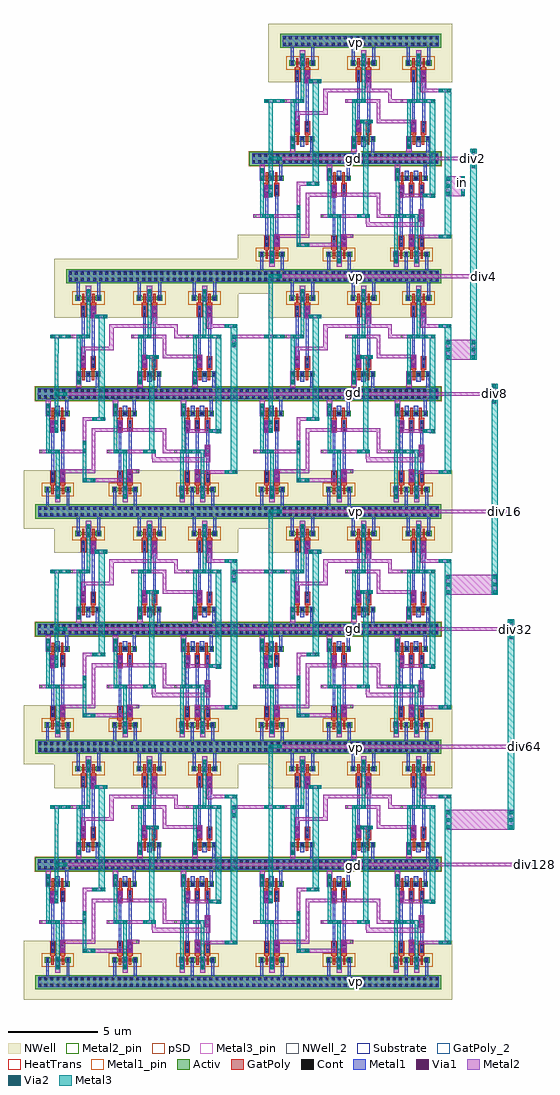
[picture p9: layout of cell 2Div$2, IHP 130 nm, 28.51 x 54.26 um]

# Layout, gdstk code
from math import pi, radians
import gdstk
lib = gdstk.Library(unit=1e-6, precision=1e-09)
def R(c, l, rs):  # rectangles x0, y0, x1, y1
    for r in rs: c.add(gdstk.rectangle(r[:2], r[2:], *l))
def A(c, l, x, y, w, h, nx, ny, dx, dy):  # array of equal rectangles
    R(c, l, [(x+i*dx, y+j*dy, x+i*dx+w, y+j*dy+h) for i in range(nx) for j in range(ny)])
Activ = (1, 0)
GatPoly = (5, 0)
GatPoly_2 = (5, 2)
Cont = (6, 0)
Metal1 = (8, 0)
Metal1_pin = (8, 2)
Metal2 = (10, 0)
Metal2_pin = (10, 2)
pSD = (14, 0)
Via1 = (19, 0)
Via2 = (29, 0)
Metal3 = (30, 0)
Metal3_pin = (30, 2)
NWell = (31, 0)
NWell_2 = (31, 2)
Substrate = (40, 0)
HeatTrans = (51, 0)

ptap1_10 = lib.new_cell('ptap1$10')
R(ptap1_10, Activ, [(0,0,0.78,0.78)])
R(ptap1_10, Cont, [(0.14,0.14,0.3,0.3), (0.48,0.14,0.64,0.3), (0.14,0.48,0.3,0.64), (0.48,0.48,0.64,0.64)])
R(ptap1_10, Metal1, [(0.14,0.09,0.64,0.69), (0.14,0.14,0.64,0.64)])
R(ptap1_10, Metal1_pin, [(0.14,0.14,0.64,0.64)])
R(ptap1_10, pSD, [(-0.03,-0.03,0.81,0.81)])
R(ptap1_10, Substrate, [(0,0,0.78,0.78)])
ptap1_10.add(gdstk.Label('sub!', (0.39,0.01), layer=63, texttype=0))
ptap1_10.add(gdstk.Label('sub!', (0.39,0.01), layer=40, texttype=0))

ntap1_4_1_2 = lib.new_cell('ntap1$4$1$2')
R(ntap1_4_1_2, Activ, [(0,0,2.5,0.78)])
A(ntap1_4_1_2, Cont, 0.15, 0.14, 0.16, 0.16, 7, 2, 0.34, 0.34)
R(ntap1_4_1_2, Metal1, [(0.15,0.09,2.35,0.69)])
R(ntap1_4_1_2, Metal1_pin, [(0.15,0.09,2.35,0.69), (0.15,0.14,2.35,0.64)])
R(ntap1_4_1_2, NWell, [(-0.24,-0.24,2.74,1.02), (0,0,2.5,0.78)])
R(ntap1_4_1_2, NWell_2, [(0,0,2.5,0.78)])
ntap1_4_1_2.add(gdstk.Label('well', (1.25,0.01), layer=63, texttype=0))
ntap1_4_1_2.add(gdstk.Label('well', (1.25,0.01), layer=31, texttype=0))

nmos_3_1_2 = lib.new_cell('nmos$3$1$2')
A(nmos_3_1_2, Activ, 0, 0, 0.3, 0.3, 3, 1, 0.51, 0)
R(nmos_3_1_2, Activ, [(0,0,1.32,0.3)])
R(nmos_3_1_2, GatPoly, [(0.34,-0.18,0.47,0.48), (0.85,-0.18,0.98,0.48)])
R(nmos_3_1_2, GatPoly_2, [(0.34,-0.18,0.47,0.48)])
A(nmos_3_1_2, Cont, 0.07, 0.07, 0.16, 0.16, 3, 1, 0.51, 0)
A(nmos_3_1_2, Metal1, 0.07, 0, 0.16, 0.3, 3, 1, 0.51, 0)
R(nmos_3_1_2, Metal1_pin, [(0.07,0,0.23,0.3), (0.58,0,0.74,0.3)])
R(nmos_3_1_2, HeatTrans, [(0.34,-0.18,0.47,0.48), (0.85,-0.18,0.98,0.48)])
nmos_3_1_2.add(gdstk.Label('nmos', (0.405,0.15), layer=63, texttype=0))
nmos_3_1_2.add(gdstk.Label('nmos', (0.405,0.15), layer=51, texttype=0))
nmos_3_1_2.add(gdstk.Label('nmos', (0.915,0.15), layer=51, texttype=0))

ptap1_2_1_3 = lib.new_cell('ptap1$2$1$3')
R(ptap1_2_1_3, Activ, [(0,0,2.5,0.78)])
A(ptap1_2_1_3, Cont, 0.15, 0.14, 0.16, 0.16, 7, 2, 0.34, 0.34)
R(ptap1_2_1_3, Metal1, [(0.15,0.09,2.35,0.69), (0.15,0.14,2.35,0.64)])
R(ptap1_2_1_3, Metal1_pin, [(0.15,0.14,2.35,0.64)])
R(ptap1_2_1_3, pSD, [(-0.03,-0.03,2.53,0.81)])
R(ptap1_2_1_3, Substrate, [(0,0,2.5,0.78)])
ptap1_2_1_3.add(gdstk.Label('sub!', (1.25,0.01), layer=63, texttype=0))
ptap1_2_1_3.add(gdstk.Label('sub!', (1.25,0.01), layer=40, texttype=0))

via_5_1_3 = lib.new_cell('Via$5$1$3')
R(via_5_1_3, Metal2, [(-0.1,-0.35,0.1,0.35)])
R(via_5_1_3, Via2, [(-0.095,-0.3,0.095,-0.11), (-0.095,0.11,0.095,0.3)])
R(via_5_1_3, Metal3, [(-0.1,-0.35,0.1,0.35)])

via_4_1_2 = lib.new_cell('Via$4$1$2')
R(via_4_1_2, Metal1, [(-0.105,-0.35,0.105,0.35)])
R(via_4_1_2, Metal2, [(-0.1,-0.35,0.1,0.35)])
R(via_4_1_2, Via1, [(-0.095,-0.3,0.095,-0.11), (-0.095,0.11,0.095,0.3)])

via_6_1_1_3 = lib.new_cell('Via$6$1$1$3')
R(via_6_1_1_3, GatPoly, [(-0.32,-0.15,0.32,0.15)])
R(via_6_1_1_3, Cont, [(-0.25,-0.08,-0.09,0.08), (0.09,-0.08,0.25,0.08)])
R(via_6_1_1_3, Metal1, [(-0.3,-0.08,0.3,0.08)])

pmos_3_1_3 = lib.new_cell('pmos$3$1$3')
A(pmos_3_1_3, Activ, 0, 0, 0.3, 0.3, 3, 1, 0.57, 0)
R(pmos_3_1_3, Activ, [(0,0.075,1.44,0.225)])
R(pmos_3_1_3, GatPoly, [(0.37,-0.105,0.5,0.405), (0.94,-0.105,1.07,0.405)])
A(pmos_3_1_3, Cont, 0.07, 0.07, 0.16, 0.16, 3, 1, 0.57, 0)
A(pmos_3_1_3, Metal1, 0.07, 0.02, 0.16, 0.26, 3, 1, 0.57, 0)
R(pmos_3_1_3, pSD, [(-0.18,-0.225,1.62,0.525)])
R(pmos_3_1_3, NWell, [(-0.31,-0.31,1.75,0.61)])
R(pmos_3_1_3, Substrate, [(1.14,0,1.44,0.3)])
R(pmos_3_1_3, HeatTrans, [(0.37,-0.105,0.5,0.405), (0.94,-0.105,1.07,0.405)])
pmos_3_1_3.add(gdstk.Label('pmos', (0.435,0.15), layer=63, texttype=0))
pmos_3_1_3.add(gdstk.Label('pmos', (0.435,0.15), layer=51, texttype=0))
pmos_3_1_3.add(gdstk.Label('pmos', (1.005,0.15), layer=51, texttype=0))

nand_2in_nmosx2_1_1_2 = lib.new_cell('NAND_2in_nmosx2$1$1$2')
R(nand_2in_nmosx2_1_1_2, GatPoly, [(0.605,-3.005,0.905,-2.895), (1.165,-3.005,1.465,-2.895), (0.6,0.58,0.9,0.73), (1.16,0.58,1.46,0.73), (0.68,0.68,0.81,0.77), (1.25,0.68,1.38,0.77)])
R(nand_2in_nmosx2_1_1_2, Metal1, [(0.445,-4.15,0.605,-3.37), (0.915,-3.675,1.155,-3.415), (0.915,-3.435,1.155,-3.095), (0.67,-2.44,0.835,-2.21), (0.67,-2.21,0.83,-1.27), (1.23,-2.21,1.39,-1.27), (0.67,-1.31,0.83,-0.37), (1.23,-1.31,1.39,-0.37), (0.67,-0.37,0.83,-0.12), (1.23,-0.37,1.39,-0.01), (1.52,1,1.68,1.2), (0.38,1.01,0.54,1.15), (0.38,1.115,0.54,1.99), (1.52,1.115,1.68,1.94)])
R(nand_2in_nmosx2_1_1_2, Metal1_pin, [(0.44,-4.395,0.57,-4.265), (0.4,2.15,0.53,2.28)])
R(nand_2in_nmosx2_1_1_2, Metal2, [(1.415,-3.995,1.705,-3.795), (1.415,-3.795,1.705,-3.095), (1.165,-2.875,1.465,-2.175), (1.62,-1.24,2.05,-1.04), (0.6,-0.14,0.9,0.56), (0.88,0.78,1.17,0.98), (0.88,0.98,1.17,1.68)])
R(nand_2in_nmosx2_1_1_2, Metal2_pin, [(1.255,-2.345,1.385,-2.215), (1.905,-1.205,2.035,-1.075), (0.69,-0.1,0.82,0.03)])
R(nand_2in_nmosx2_1_1_2, Metal3, [(1.465,-3.105,1.665,-2.905), (1.465,-2.905,1.665,-1.045), (0.93,-1.09,1.13,0.17), (0.93,0.1,1.13,0.62), (0.93,0.62,1.13,0.72), (0.93,0.71,1.13,0.87)])
R(nand_2in_nmosx2_1_1_2, NWell, [(-0.85,-0.1,2.93,3.17)])
nand_2in_nmosx2_1_1_2.add(gdstk.Reference(ntap1_4_1_2, (-0.23,1.81)))
nand_2in_nmosx2_1_1_2.add(gdstk.Reference(nmos_3_1_2, (1.695,-3.095), rotation=pi))
nand_2in_nmosx2_1_1_2.add(gdstk.Reference(ptap1_2_1_3, (-0.22,-4.73)))
nand_2in_nmosx2_1_1_2.add(gdstk.Reference(via_5_1_3, (1.27,-1.14), rotation=3*pi/2))
nand_2in_nmosx2_1_1_2.add(gdstk.Reference(via_4_1_2, (1.565,-3.445), rotation=pi))
nand_2in_nmosx2_1_1_2.add(gdstk.Reference(via_4_1_2, (1.315,-2.525), rotation=pi))
nand_2in_nmosx2_1_1_2.add(gdstk.Reference(via_4_1_2, (0.75,0.21), rotation=pi))
nand_2in_nmosx2_1_1_2.add(gdstk.Reference(via_4_1_2, (1.03,1.13), rotation=pi))
nand_2in_nmosx2_1_1_2.add(gdstk.Reference(via_6_1_1_3, (0.755,-2.575), rotation=3*pi/2))
nand_2in_nmosx2_1_1_2.add(gdstk.Reference(via_6_1_1_3, (1.315,-2.575), rotation=3*pi/2))
nand_2in_nmosx2_1_1_2.add(gdstk.Reference(via_6_1_1_3, (0.75,0.26), rotation=3*pi/2))
nand_2in_nmosx2_1_1_2.add(gdstk.Reference(via_6_1_1_3, (1.31,0.26), rotation=3*pi/2))
nand_2in_nmosx2_1_1_2.add(gdstk.Reference(via_5_1_3, (1.565,-3.445), rotation=pi))
nand_2in_nmosx2_1_1_2.add(gdstk.Reference(via_5_1_3, (1.03,1.13), rotation=pi))
nand_2in_nmosx2_1_1_2.add(gdstk.Reference(pmos_3_1_3, (1.75,1.13), rotation=pi))
nand_2in_nmosx2_1_1_2.add(gdstk.Label('VP', (0.46,2.21), layer=8, texttype=25))
nand_2in_nmosx2_1_1_2.add(gdstk.Label('GND', (0.505,-4.325), layer=8, texttype=25))
nand_2in_nmosx2_1_1_2.add(gdstk.Label('y', (1.97,-1.14), layer=10, texttype=25))
nand_2in_nmosx2_1_1_2.add(gdstk.Label('b', (0.75,-0.04), layer=10, texttype=25))
nand_2in_nmosx2_1_1_2.add(gdstk.Label('a', (1.315,-2.285), layer=10, texttype=25))

via_10_6_2 = lib.new_cell('Via$10$6$2')
R(via_10_6_2, Metal1, [(-0.105,-0.35,0.105,0.35)])
R(via_10_6_2, Metal2, [(-0.1,-0.35,0.1,0.35)])
R(via_10_6_2, Via1, [(-0.095,-0.3,0.095,-0.11), (-0.095,0.11,0.095,0.3)])

via_11_3_2 = lib.new_cell('Via$11$3$2')
R(via_11_3_2, Metal2, [(-0.1,-0.555,0.1,0.555)])
A(via_11_3_2, Via2, -0.095, -0.505, 0.19, 0.19, 1, 3, 0, 0.41)
R(via_11_3_2, Metal3, [(-0.1,-0.555,0.1,0.555)])

nmos_2_5_4 = lib.new_cell('nmos$2$5$4')
A(nmos_2_5_4, Activ, 0, 0, 0.3, 0.3, 4, 1, 0.51, 0)
R(nmos_2_5_4, Activ, [(0,0,1.83,0.3)])
A(nmos_2_5_4, GatPoly, 0.34, -0.18, 0.13, 0.66, 3, 1, 0.51, 0)
R(nmos_2_5_4, GatPoly_2, [(0.34,-0.18,0.47,0.48)])
A(nmos_2_5_4, Cont, 0.07, 0.07, 0.16, 0.16, 4, 1, 0.51, 0)
A(nmos_2_5_4, Metal1, 0.07, 0, 0.16, 0.3, 4, 1, 0.51, 0)
R(nmos_2_5_4, Metal1_pin, [(0.07,0,0.23,0.3), (0.58,0,0.74,0.3)])
A(nmos_2_5_4, HeatTrans, 0.34, -0.18, 0.13, 0.66, 3, 1, 0.51, 0)
nmos_2_5_4.add(gdstk.Label('nmos', (0.405,0.15), layer=63, texttype=0))
nmos_2_5_4.add(gdstk.Label('nmos', (0.405,0.15), layer=51, texttype=0))
nmos_2_5_4.add(gdstk.Label('nmos', (0.915,0.15), layer=51, texttype=0))
nmos_2_5_4.add(gdstk.Label('nmos', (1.425,0.15), layer=51, texttype=0))

ntap1_7_2 = lib.new_cell('ntap1$7$2')
R(ntap1_7_2, Activ, [(0,0,3.5,0.78)])
A(ntap1_7_2, Cont, 0.14, 0.14, 0.16, 0.16, 10, 2, 0.34, 0.34)
R(ntap1_7_2, Metal1, [(0.14,0.09,3.36,0.69)])
R(ntap1_7_2, Metal1_pin, [(0.14,0.09,3.36,0.69), (0.14,0.14,3.36,0.64)])
R(ntap1_7_2, NWell, [(-0.24,-0.24,3.74,1.02), (0,0,3.5,0.78)])
R(ntap1_7_2, NWell_2, [(0,0,3.5,0.78)])
ntap1_7_2.add(gdstk.Label('well', (1.75,0.01), layer=63, texttype=0))
ntap1_7_2.add(gdstk.Label('well', (1.75,0.01), layer=31, texttype=0))

ptap1_6_2 = lib.new_cell('ptap1$6$2')
R(ptap1_6_2, Activ, [(0,0,3.5,0.78)])
A(ptap1_6_2, Cont, 0.14, 0.14, 0.16, 0.16, 10, 2, 0.34, 0.34)
R(ptap1_6_2, Metal1, [(0.14,0.09,3.36,0.69), (0.14,0.14,3.36,0.64)])
R(ptap1_6_2, Metal1_pin, [(0.14,0.14,3.36,0.64)])
R(ptap1_6_2, pSD, [(-0.03,-0.03,3.53,0.81)])
R(ptap1_6_2, Substrate, [(0,0,3.5,0.78)])
ptap1_6_2.add(gdstk.Label('sub!', (1.75,0.01), layer=63, texttype=0))
ptap1_6_2.add(gdstk.Label('sub!', (1.75,0.01), layer=40, texttype=0))

via_8_4_2 = lib.new_cell('Via$8$4$2')
R(via_8_4_2, Metal2, [(-0.1,-0.35,0.1,0.35)])
R(via_8_4_2, Via2, [(-0.095,-0.3,0.095,-0.11), (-0.095,0.11,0.095,0.3)])
R(via_8_4_2, Metal3, [(-0.1,-0.35,0.1,0.35)])

via_6_10_2 = lib.new_cell('Via$6$10$2')
R(via_6_10_2, GatPoly, [(-0.32,-0.15,0.32,0.15)])
R(via_6_10_2, Cont, [(-0.25,-0.08,-0.09,0.08), (0.09,-0.08,0.25,0.08)])
R(via_6_10_2, Metal1, [(-0.3,-0.08,0.3,0.08)])

pmos_2_5_2 = lib.new_cell('pmos$2$5$2')
A(pmos_2_5_2, Activ, 0, 0, 0.3, 0.3, 4, 1, 0.57, 0)
R(pmos_2_5_2, Activ, [(0,0.075,2.01,0.225)])
A(pmos_2_5_2, GatPoly, 0.37, -0.105, 0.13, 0.51, 3, 1, 0.57, 0)
R(pmos_2_5_2, GatPoly, [(0.37,-0.105,0.5,0.405)])
A(pmos_2_5_2, Cont, 0.07, 0.07, 0.16, 0.16, 4, 1, 0.57, 0)
A(pmos_2_5_2, Metal1, 0.64, 0.02, 0.16, 0.26, 3, 1, 0.57, 0)
R(pmos_2_5_2, Metal1, [(0.07,0.02,0.23,0.28), (0.07,0.02,0.23,0.28), (0.64,0.02,0.8,0.28)])
R(pmos_2_5_2, pSD, [(-0.18,-0.225,2.19,0.525)])
R(pmos_2_5_2, NWell, [(-0.31,-0.31,2.32,0.61)])
R(pmos_2_5_2, Substrate, [(1.71,0,2.01,0.3)])
A(pmos_2_5_2, HeatTrans, 0.37, -0.105, 0.13, 0.51, 3, 1, 0.57, 0)
pmos_2_5_2.add(gdstk.Label('pmos', (0.435,0.15), layer=63, texttype=0))
pmos_2_5_2.add(gdstk.Label('pmos', (0.435,0.15), layer=51, texttype=0))
pmos_2_5_2.add(gdstk.Label('pmos', (1.005,0.15), layer=51, texttype=0))
pmos_2_5_2.add(gdstk.Label('pmos', (1.575,0.15), layer=51, texttype=0))

nand_3in_nmosx3_1_2 = lib.new_cell('NAND_3in_nmosx3$1$2')
R(nand_3in_nmosx3_1_2, GatPoly, [(0.115,-3.025,0.245,-2.915), (0.685,-3.025,0.815,-2.915), (0.035,-3.005,0.335,-2.895), (0.605,-3.005,0.905,-2.895), (1.165,-3.005,1.465,-2.895), (0.03,0.58,0.33,0.73), (0.6,0.58,0.9,0.73), (1.16,0.58,1.46,0.73), (0.68,0.68,0.81,0.77), (1.25,0.68,1.38,0.77)])
R(nand_3in_nmosx3_1_2, Metal1, [(-0.095,-4.15,0.065,-3.37), (0.375,-3.675,0.615,-3.415), (0.885,-3.675,1.125,-3.415), (0.375,-3.435,0.615,-3.095), (0.885,-3.435,1.125,-3.095), (0.67,-2.44,0.835,-2.09), (0.1,-2.42,0.265,-1.91), (0.67,-2.21,0.83,-1.27), (1.23,-2.21,1.39,-1.27), (0.1,-1.91,0.26,-0.56), (0.67,-1.31,0.83,-0.37), (1.23,-1.31,1.39,-0.37), (0.1,-0.62,0.26,-0.04), (1.23,-0.53,1.39,0), (0.67,-0.37,0.83,-0.11), (0.95,1,1.11,1.2), (-0.19,1.01,-0.03,1.15), (-0.19,1.115,-0.03,1.99), (0.95,1.115,1.11,1.94)])
R(nand_3in_nmosx3_1_2, Metal1_pin, [(0.44,-4.405,0.57,-4.275), (0.74,2.15,0.87,2.28)])
R(nand_3in_nmosx3_1_2, Metal2, [(1.375,-3.995,1.665,-3.795), (1.375,-3.795,1.665,-3.095), (1.155,-2.875,1.455,-2.175), (0.03,-1.51,0.33,-0.81), (1.62,-1.24,2.05,-1.04), (0.59,-0.14,0.89,0.56), (0.31,0.78,0.6,0.98), (1.45,0.78,1.74,0.98), (0.31,0.98,0.6,1.68), (1.45,0.98,1.74,1.68)])
R(nand_3in_nmosx3_1_2, Metal2_pin, [(1.255,-2.385,1.385,-2.255), (0.11,-1.215,0.24,-1.085), (1.905,-1.205,2.035,-1.075), (0.69,-0.07,0.82,0.06)])
R(nand_3in_nmosx3_1_2, Metal3, [(1.425,-3.105,1.625,-2.905), (1.425,-2.905,1.625,-2.5), (1.425,-2.5,1.625,-1.15), (0.36,-1.24,0.56,-0.97), (0.38,-1.24,0.565,-1.04), (1.66,-1.24,1.7,-1.09), (1.5,-1.09,1.7,0.17), (0.36,-0.97,0.56,0.26), (1.5,-0.03,1.7,0.62), (0.36,0.08,0.56,0.78), (1.5,0.62,1.7,0.72), (1.5,0.71,1.7,0.87)])
R(nand_3in_nmosx3_1_2, NWell, [(-1.52,-0.1,-0.85,3.17), (-0.85,-0.1,2.93,3.17)])
nand_3in_nmosx3_1_2.add(gdstk.Reference(via_10_6_2, (1.525,-3.445), rotation=pi))
nand_3in_nmosx3_1_2.add(gdstk.Reference(via_10_6_2, (1.315,-2.525), rotation=pi))
nand_3in_nmosx3_1_2.add(gdstk.Reference(via_10_6_2, (0.18,-1.16), rotation=pi))
nand_3in_nmosx3_1_2.add(gdstk.Reference(via_10_6_2, (0.75,0.21), rotation=pi))
nand_3in_nmosx3_1_2.add(gdstk.Reference(via_10_6_2, (0.46,1.13), rotation=pi))
nand_3in_nmosx3_1_2.add(gdstk.Reference(via_10_6_2, (1.6,1.13), rotation=pi))
nand_3in_nmosx3_1_2.add(gdstk.Reference(via_11_3_2, (1.12,-1.14), rotation=3*pi/2))
nand_3in_nmosx3_1_2.add(gdstk.Reference(nmos_2_5_4, (1.665,-3.095), rotation=pi))
nand_3in_nmosx3_1_2.add(gdstk.Reference(ntap1_7_2, (-0.9,1.81)))
nand_3in_nmosx3_1_2.add(gdstk.Reference(ptap1_6_2, (-0.89,-4.73)))
nand_3in_nmosx3_1_2.add(gdstk.Reference(via_8_4_2, (1.525,-3.445), rotation=pi))
nand_3in_nmosx3_1_2.add(gdstk.Reference(via_8_4_2, (0.46,1.13), rotation=pi))
nand_3in_nmosx3_1_2.add(gdstk.Reference(via_8_4_2, (1.6,1.13), rotation=pi))
nand_3in_nmosx3_1_2.add(gdstk.Reference(via_6_10_2, (0.185,-2.575), rotation=3*pi/2))
nand_3in_nmosx3_1_2.add(gdstk.Reference(via_6_10_2, (0.755,-2.575), rotation=3*pi/2))
nand_3in_nmosx3_1_2.add(gdstk.Reference(via_6_10_2, (1.315,-2.575), rotation=3*pi/2))
nand_3in_nmosx3_1_2.add(gdstk.Reference(via_6_10_2, (0.18,0.26), rotation=3*pi/2))
nand_3in_nmosx3_1_2.add(gdstk.Reference(via_6_10_2, (0.75,0.26), rotation=3*pi/2))
nand_3in_nmosx3_1_2.add(gdstk.Reference(via_6_10_2, (1.31,0.26), rotation=3*pi/2))
nand_3in_nmosx3_1_2.add(gdstk.Reference(pmos_2_5_2, (1.75,1.13), rotation=pi))
nand_3in_nmosx3_1_2.add(gdstk.Label('VP', (0.8,2.21), layer=8, texttype=25))
nand_3in_nmosx3_1_2.add(gdstk.Label('GND', (0.505,-4.335), layer=8, texttype=25))
nand_3in_nmosx3_1_2.add(gdstk.Label('y', (1.97,-1.14), layer=10, texttype=25))
nand_3in_nmosx3_1_2.add(gdstk.Label('b', (0.76,0.02), layer=10, texttype=25))
nand_3in_nmosx3_1_2.add(gdstk.Label('c', (0.17,-1.15), layer=10, texttype=25))
nand_3in_nmosx3_1_2.add(gdstk.Label('a', (1.315,-2.325), layer=10, texttype=25))

ntap1_1_2_2 = lib.new_cell('ntap1$1$2$2')
R(ntap1_1_2_2, Activ, [(0,0,2.5,0.78)])
A(ntap1_1_2_2, Cont, 0.15, 0.14, 0.16, 0.16, 7, 2, 0.34, 0.34)
R(ntap1_1_2_2, Metal1, [(0.15,0.09,2.35,0.69)])
R(ntap1_1_2_2, Metal1_pin, [(0.15,0.09,2.35,0.69), (0.15,0.14,2.35,0.64)])
R(ntap1_1_2_2, NWell, [(-0.24,-0.24,2.74,1.02), (0,0,2.5,0.78)])
R(ntap1_1_2_2, NWell_2, [(0,0,2.5,0.78)])
ntap1_1_2_2.add(gdstk.Label('well', (1.25,0.01), layer=63, texttype=0))
ntap1_1_2_2.add(gdstk.Label('well', (1.25,0.01), layer=31, texttype=0))

nmos_4_4 = lib.new_cell('nmos$4$4')
A(nmos_4_4, Activ, 0, 0, 0.3, 0.3, 3, 1, 0.51, 0)
R(nmos_4_4, Activ, [(0,0,1.32,0.3)])
R(nmos_4_4, GatPoly, [(0.34,-0.18,0.47,0.48), (0.85,-0.18,0.98,0.48)])
R(nmos_4_4, GatPoly_2, [(0.34,-0.18,0.47,0.48)])
A(nmos_4_4, Cont, 0.07, 0.07, 0.16, 0.16, 3, 1, 0.51, 0)
A(nmos_4_4, Metal1, 0.07, 0, 0.16, 0.3, 3, 1, 0.51, 0)
R(nmos_4_4, Metal1_pin, [(0.07,0,0.23,0.3), (0.58,0,0.74,0.3)])
R(nmos_4_4, HeatTrans, [(0.34,-0.18,0.47,0.48), (0.85,-0.18,0.98,0.48)])
nmos_4_4.add(gdstk.Label('nmos', (0.405,0.15), layer=63, texttype=0))
nmos_4_4.add(gdstk.Label('nmos', (0.405,0.15), layer=51, texttype=0))
nmos_4_4.add(gdstk.Label('nmos', (0.915,0.15), layer=51, texttype=0))

ptap1_1_2_2 = lib.new_cell('ptap1$1$2$2')
R(ptap1_1_2_2, Activ, [(0,0,2.5,0.78)])
A(ptap1_1_2_2, Cont, 0.15, 0.14, 0.16, 0.16, 7, 2, 0.34, 0.34)
R(ptap1_1_2_2, Metal1, [(0.15,0.09,2.35,0.69), (0.15,0.14,2.35,0.64)])
R(ptap1_1_2_2, Metal1_pin, [(0.15,0.14,2.35,0.64)])
R(ptap1_1_2_2, pSD, [(-0.03,-0.03,2.53,0.81)])
R(ptap1_1_2_2, Substrate, [(0,0,2.5,0.78)])
ptap1_1_2_2.add(gdstk.Label('sub!', (1.25,0.01), layer=63, texttype=0))
ptap1_1_2_2.add(gdstk.Label('sub!', (1.25,0.01), layer=40, texttype=0))

pmos_4_2 = lib.new_cell('pmos$4$2')
A(pmos_4_2, Activ, 0, 0, 0.3, 0.3, 3, 1, 0.57, 0)
R(pmos_4_2, Activ, [(0,0.075,1.44,0.225)])
R(pmos_4_2, GatPoly, [(0.37,-0.105,0.5,0.405), (0.37,-0.105,0.5,0.405), (0.94,-0.105,1.07,0.405)])
A(pmos_4_2, Cont, 0.07, 0.07, 0.16, 0.16, 3, 1, 0.57, 0)
R(pmos_4_2, Metal1, [(0.07,0.02,0.23,0.28), (0.07,0.02,0.23,0.28), (0.64,0.02,0.8,0.28), (0.64,0.02,0.8,0.28), (1.21,0.02,1.37,0.28)])
R(pmos_4_2, pSD, [(-0.18,-0.225,1.62,0.525)])
R(pmos_4_2, NWell, [(-0.31,-0.31,1.75,0.61)])
R(pmos_4_2, Substrate, [(1.14,0,1.44,0.3)])
R(pmos_4_2, HeatTrans, [(0.37,-0.105,0.5,0.405), (0.94,-0.105,1.07,0.405)])
pmos_4_2.add(gdstk.Label('pmos', (0.435,0.15), layer=63, texttype=0))
pmos_4_2.add(gdstk.Label('pmos', (0.435,0.15), layer=51, texttype=0))
pmos_4_2.add(gdstk.Label('pmos', (1.005,0.15), layer=51, texttype=0))

nand_2in_nmosx2_3_2 = lib.new_cell('NAND_2in_nmosx2$3$2')
R(nand_2in_nmosx2_3_2, GatPoly, [(0.605,-3.005,0.905,-2.895), (1.165,-3.005,1.465,-2.895), (0.6,0.58,0.9,0.73), (1.16,0.58,1.46,0.73), (0.68,0.68,0.81,0.77), (1.25,0.68,1.38,0.77)])
R(nand_2in_nmosx2_3_2, Metal1, [(0.445,-4.15,0.605,-3.37), (0.915,-3.675,1.155,-3.415), (0.915,-3.435,1.155,-3.095), (0.67,-2.44,0.835,-2.21), (0.67,-2.21,0.83,-1.27), (1.23,-2.21,1.39,-1.27), (0.67,-1.31,0.83,-0.37), (1.23,-1.31,1.39,-0.37), (0.67,-0.37,0.83,-0.12), (1.23,-0.37,1.39,-0.01), (1.52,1,1.68,1.2), (0.38,1.01,0.54,1.15), (0.38,1.115,0.54,1.99), (1.52,1.115,1.68,1.94)])
R(nand_2in_nmosx2_3_2, Metal1_pin, [(0.44,-4.395,0.57,-4.265), (0.4,2.15,0.53,2.28)])
R(nand_2in_nmosx2_3_2, Metal2, [(1.415,-3.995,1.705,-3.795), (1.415,-3.795,1.705,-3.095), (1.165,-2.875,1.465,-2.175), (1.62,-1.24,2.05,-1.04), (0.6,-0.14,0.9,0.56), (0.88,0.78,1.17,0.98), (0.88,0.98,1.17,1.68)])
R(nand_2in_nmosx2_3_2, Metal2_pin, [(1.255,-2.345,1.385,-2.215), (1.905,-1.205,2.035,-1.075), (0.69,-0.1,0.82,0.03)])
R(nand_2in_nmosx2_3_2, Metal3, [(1.465,-3.105,1.665,-2.905), (1.465,-2.905,1.665,-1.045), (0.93,-1.09,1.13,0.17), (0.93,0.1,1.13,0.62), (0.93,0.62,1.13,0.72), (0.93,0.71,1.13,0.87)])
R(nand_2in_nmosx2_3_2, NWell, [(-0.85,-0.1,2.93,3.17)])
nand_2in_nmosx2_3_2.add(gdstk.Reference(ntap1_1_2_2, (-0.23,1.81)))
nand_2in_nmosx2_3_2.add(gdstk.Reference(nmos_4_4, (1.695,-3.095), rotation=pi))
nand_2in_nmosx2_3_2.add(gdstk.Reference(ptap1_1_2_2, (-0.22,-4.73)))
nand_2in_nmosx2_3_2.add(gdstk.Reference(via_8_4_2, (1.27,-1.14), rotation=3*pi/2))
nand_2in_nmosx2_3_2.add(gdstk.Reference(via_10_6_2, (1.565,-3.445), rotation=pi))
nand_2in_nmosx2_3_2.add(gdstk.Reference(via_10_6_2, (1.315,-2.525), rotation=pi))
nand_2in_nmosx2_3_2.add(gdstk.Reference(via_10_6_2, (0.75,0.21), rotation=pi))
nand_2in_nmosx2_3_2.add(gdstk.Reference(via_10_6_2, (1.03,1.13), rotation=pi))
nand_2in_nmosx2_3_2.add(gdstk.Reference(via_6_10_2, (0.755,-2.575), rotation=3*pi/2))
nand_2in_nmosx2_3_2.add(gdstk.Reference(via_6_10_2, (1.315,-2.575), rotation=3*pi/2))
nand_2in_nmosx2_3_2.add(gdstk.Reference(via_6_10_2, (0.75,0.26), rotation=3*pi/2))
nand_2in_nmosx2_3_2.add(gdstk.Reference(via_6_10_2, (1.31,0.26), rotation=3*pi/2))
nand_2in_nmosx2_3_2.add(gdstk.Reference(via_8_4_2, (1.565,-3.445), rotation=pi))
nand_2in_nmosx2_3_2.add(gdstk.Reference(via_8_4_2, (1.03,1.13), rotation=pi))
nand_2in_nmosx2_3_2.add(gdstk.Reference(pmos_4_2, (1.75,1.13), rotation=pi))
nand_2in_nmosx2_3_2.add(gdstk.Label('VP', (0.46,2.21), layer=8, texttype=25))
nand_2in_nmosx2_3_2.add(gdstk.Label('GND', (0.505,-4.325), layer=8, texttype=25))
nand_2in_nmosx2_3_2.add(gdstk.Label('y', (1.97,-1.14), layer=10, texttype=25))
nand_2in_nmosx2_3_2.add(gdstk.Label('b', (0.75,-0.04), layer=10, texttype=25))
nand_2in_nmosx2_3_2.add(gdstk.Label('a', (1.315,-2.285), layer=10, texttype=25))

ntap1_3_3_2 = lib.new_cell('ntap1$3$3$2')
R(ntap1_3_3_2, Activ, [(0,0,1.8,0.78)])
A(ntap1_3_3_2, Cont, 0.14, 0.14, 0.16, 0.16, 5, 2, 0.34, 0.34)
R(ntap1_3_3_2, Metal1, [(0.14,0.09,1.66,0.69)])
R(ntap1_3_3_2, Metal1_pin, [(0.14,0.09,1.66,0.69), (0.14,0.14,1.66,0.64)])
R(ntap1_3_3_2, NWell, [(-0.24,-0.24,2.04,1.02), (0,0,1.8,0.78)])
R(ntap1_3_3_2, NWell_2, [(0,0,1.8,0.78)])
ntap1_3_3_2.add(gdstk.Label('well', (0.9,0.01), layer=63, texttype=0))
ntap1_3_3_2.add(gdstk.Label('well', (0.9,0.01), layer=31, texttype=0))

via_14_2 = lib.new_cell('Via$14$2')
R(via_14_2, Metal2, [(-0.35,-0.1,0.35,0.1)])
R(via_14_2, Via2, [(-0.3,-0.095,-0.11,0.095), (0.11,-0.095,0.3,0.095)])
R(via_14_2, Metal3, [(-0.35,-0.1,0.35,0.1)])

via_12_4_2 = lib.new_cell('Via$12$4$2')
R(via_12_4_2, Metal2, [(-0.555,-0.1,0.555,0.1)])
A(via_12_4_2, Via2, -0.505, -0.095, 0.19, 0.19, 3, 1, 0.41, 0)
R(via_12_4_2, Metal3, [(-0.555,-0.1,0.555,0.1)])

via_13_1_2 = lib.new_cell('Via$13$1$2')
R(via_13_1_2, Metal2, [(-0.76,-0.1,0.76,0.1)])
A(via_13_1_2, Via2, -0.71, -0.095, 0.19, 0.19, 4, 1, 0.41, 0)
R(via_13_1_2, Metal3, [(-0.76,-0.1,0.76,0.1)])

ntap1_5_1_2 = lib.new_cell('ntap1$5$1$2')
R(ntap1_5_1_2, Activ, [(0,0,2.1,0.78)])
A(ntap1_5_1_2, Cont, 0.12, 0.14, 0.16, 0.16, 6, 2, 0.34, 0.34)
R(ntap1_5_1_2, Metal1, [(0.12,0.09,1.98,0.69)])
R(ntap1_5_1_2, Metal1_pin, [(0.12,0.09,1.98,0.69), (0.12,0.14,1.98,0.64)])
R(ntap1_5_1_2, NWell, [(-0.24,-0.24,2.34,1.02), (0,0,2.1,0.78)])
R(ntap1_5_1_2, NWell_2, [(0,0,2.1,0.78)])
ntap1_5_1_2.add(gdstk.Label('well', (1.05,0.01), layer=63, texttype=0))
ntap1_5_1_2.add(gdstk.Label('well', (1.05,0.01), layer=31, texttype=0))

d_flip_flop_3_2 = lib.new_cell('d_flip_flop$3$2')
R(d_flip_flop_3_2, Metal1_pin, [(5.305,-5.04,5.435,-4.91), (4.995,1.37,5.125,1.5), (4.785,7.96,4.915,8.09)])
R(d_flip_flop_3_2, Metal2, [(-0.15,-2.95,1.29,-2.75), (1.29,-2.95,1.96,-2.75), (5.3,-2.91,5.88,-2.71), (7.74,-2.91,9.52,-2.71), (7.74,-2.81,7.94,-2.31), (1.34,-2.31,1.6,-2.04), (1.36,-2.31,4.58,-2.04), (7.74,-2.31,7.94,-1.39), (4.38,-2.13,4.585,-1.73), (3.36,-1.81,3.94,-1.61), (3.79,-1.81,3.99,-1.39), (4.38,-1.81,4.67,-1.61), (4.67,-1.81,6.02,-1.61), (8.24,-1.81,8.44,-0.89), (8.27,-1.81,9.71,-1.61), (3.79,-1.39,3.99,-0.43), (7.74,-1.39,7.94,-0.49), (8.24,-0.89,8.44,0.19), (1.38,-0.67,2.58,-0.47), (3.79,-0.62,4.07,-0.42), (4.07,-0.62,4.65,-0.42), (4.65,-0.62,6.26,-0.42), (6.16,-0.62,7.94,-0.42), (7.69,-0.01,8.27,0.19), (1.79,3.46,3.17,3.66), (3.17,3.46,3.99,3.66), (3.79,3.53,3.99,4.17), (8.255,3.655,8.505,4.12), (6.71,3.92,6.96,5.17), (6.71,3.92,7.72,4.12), (7.72,3.92,8.47,4.12), (3.79,4.17,3.99,4.59), (2.465,4.59,3.35,4.79), (3.79,4.59,4.61,4.79), (9.14,4.59,10.17,4.79), (3.15,4.79,3.35,5.21), (0.13,5.17,0.61,5.37), (0.61,5.17,1.48,5.37), (1.23,5.17,1.53,5.19), (3.15,5.17,3.67,5.37), (3.67,5.17,4.54,5.37), (4.22,5.17,6.21,5.37), (6.21,5.17,6.96,5.37), (1.23,5.19,1.53,5.69), (4.29,5.29,4.59,5.69)])
R(d_flip_flop_3_2, Metal2_pin, [(5.325,-2.88,5.455,-2.75), (10.695,-1.775,10.825,-1.645), (10.075,4.625,10.205,4.755)])
R(d_flip_flop_3_2, Metal3, [(-0.15,-2.85,0.2,-2.45), (-0.15,-2.45,0.2,4.28), (4.45,-1.81,4.73,2.56), (0.73,-0.7,1.05,3.6), (9.78,-0.47,9.98,3.76), (7.205,0.09,7.54,4.77), (4.45,2.56,4.73,3.49), (0.73,3.6,1.05,4.69), (9.775,3.76,9.98,4.69), (-0.15,4.28,0.2,5.23), (7.205,4.77,7.54,5.76)])
R(d_flip_flop_3_2, Metal3_pin, [(-0.045,1.42,0.085,1.55)])
d_flip_flop_3_2.add(gdstk.Reference(nand_2in_nmosx2_1_1_2, (5.05,-2.85), x_reflection=True))
d_flip_flop_3_2.add(gdstk.Reference(nand_3in_nmosx3_1_2, (1.31,-2.85), x_reflection=True))
d_flip_flop_3_2.add(gdstk.Reference(nand_2in_nmosx2_3_2, (7.09,5.83)))
d_flip_flop_3_2.add(gdstk.Reference(nand_2in_nmosx2_3_2, (0.63,5.83)))
d_flip_flop_3_2.add(gdstk.Reference(nand_2in_nmosx2_3_2, (8.79,-2.85), x_reflection=True))
d_flip_flop_3_2.add(gdstk.Reference(ntap1_3_3_2, (2.45,7.64)))
d_flip_flop_3_2.add(gdstk.Reference(ntap1_3_3_2, (5.51,7.64)))
d_flip_flop_3_2.add(gdstk.Reference(via_14_2, (0.2,-2.85), rotation=pi))
d_flip_flop_3_2.add(gdstk.Reference(via_14_2, (0.2,5.27), rotation=pi))
d_flip_flop_3_2.add(gdstk.Reference(nand_2in_nmosx2_3_2, (3.69,5.83)))
d_flip_flop_3_2.add(gdstk.Reference(via_12_4_2, (9.68,4.69), rotation=pi))
d_flip_flop_3_2.add(gdstk.Reference(via_8_4_2, (9.88,-0.32), rotation=pi))
d_flip_flop_3_2.add(gdstk.Reference(via_14_2, (1.08,-0.57), rotation=pi))
d_flip_flop_3_2.add(gdstk.Reference(via_13_1_2, (1.49,4.69), rotation=pi))
d_flip_flop_3_2.add(gdstk.Reference(via_14_2, (7.54,0.09), rotation=pi))
d_flip_flop_3_2.add(gdstk.Reference(via_14_2, (7.41,5.79), rotation=pi))
d_flip_flop_3_2.add(gdstk.Reference(via_14_2, (4.73,-1.71), rotation=pi))
d_flip_flop_3_2.add(gdstk.Reference(via_14_2, (4.56,3.55), rotation=pi))
d_flip_flop_3_2.add(gdstk.Reference(ntap1_3_3_2, (3.47,-5.44)))
d_flip_flop_3_2.add(gdstk.Reference(ntap1_5_1_2, (6.89,-5.44)))
d_flip_flop_3_2.add(gdstk.Label('VP', (5.37,-4.98), layer=8, texttype=25))
d_flip_flop_3_2.add(gdstk.Label('VP', (4.85,7.56), layer=8, texttype=25))
d_flip_flop_3_2.add(gdstk.Label('GND', (5.06,1.43), layer=8, texttype=25))
d_flip_flop_3_2.add(gdstk.Label('q', (10.14,4.69), layer=10, texttype=25))
d_flip_flop_3_2.add(gdstk.Label('d', (5.39,-2.81), layer=10, texttype=25))
d_flip_flop_3_2.add(gdstk.Label('q_', (10.76,-1.71), layer=10, texttype=25))
d_flip_flop_3_2.add(gdstk.Label('clk', (0.02,1.48), layer=30, texttype=25))

via_39_2 = lib.new_cell('Via$39$2')
R(via_39_2, Metal2, [(-0.1,-0.35,0.1,0.35)])
R(via_39_2, Via2, [(-0.095,-0.3,0.095,-0.11), (-0.095,0.11,0.095,0.3)])
R(via_39_2, Metal3, [(-0.1,-0.35,0.1,0.35)])

via_40_2 = lib.new_cell('Via$40$2')
R(via_40_2, Metal2, [(-0.1,-0.555,0.1,0.555)])
A(via_40_2, Via2, -0.095, -0.505, 0.19, 0.19, 1, 3, 0, 0.41)
R(via_40_2, Metal3, [(-0.1,-0.555,0.1,0.555)])

via_6 = lib.new_cell('Via$6')
R(via_6, Metal2, [(-0.35,-0.1,0.35,0.1)])
R(via_6, Via2, [(-0.3,-0.095,-0.11,0.095), (0.11,-0.095,0.3,0.095)])
R(via_6, Metal3, [(-0.35,-0.1,0.35,0.1)])

ntap1_39 = lib.new_cell('ntap1$39')
R(ntap1_39, Activ, [(0,0,7.8,0.78)])
A(ntap1_39, Cont, 0.08, 0.14, 0.16, 0.16, 23, 2, 0.34, 0.34)
R(ntap1_39, Metal1, [(0.08,0.09,7.72,0.69)])
R(ntap1_39, Metal1_pin, [(0.08,0.09,7.72,0.69), (0.08,0.14,7.72,0.64)])
R(ntap1_39, NWell, [(-0.24,-0.24,8.04,1.02), (0,0,7.8,0.78)])
R(ntap1_39, NWell_2, [(0,0,7.8,0.78)])
ntap1_39.add(gdstk.Label('well', (3.9,0.01), layer=63, texttype=0))
ntap1_39.add(gdstk.Label('well', (3.9,0.01), layer=31, texttype=0))

c_2div_2 = lib.new_cell('2Div$2')
R(c_2div_2, Metal1_pin, [(-72.89,-8.14,-72.79,-8.04), (-73.1,-1.69,-73,-1.59), (-72.89,4.84,-72.79,4.94), (-73.1,11.48,-73,11.58), (-72.89,17.98,-72.79,18.08), (-73.1,24.57,-73,24.67), (-72.89,31.02,-72.79,31.12), (-73.1,37.58,-73,37.68), (-72.89,44.08,-72.79,44.18)])
A(c_2div_2, Metal2, -88.09, -6.49, 2.79, 0.21, 1, 3, 0, 13.08)
A(c_2div_2, Metal2, -76.19, -6.49, 2.79, 0.21, 1, 4, 0, 13.08)
A(c_2div_2, Metal2, -89.55, -1.69, 12.14, 0.2, 1, 3, 0, 13.08)
A(c_2div_2, Metal2, -77.73, -1.69, 1.81, 0.2, 1, 7, 0, 6.54)
A(c_2div_2, Metal2, -75.97, -1.69, 3.51, 0.2, 1, 7, 0, 6.54)
A(c_2div_2, Metal2, -72.46, -1.69, 5.12, 0.2, 1, 7, 0, 6.54)
A(c_2div_2, Metal2, -67.48, -1.69, 1.16, 0.2, 1, 7, 0, 6.54)
A(c_2div_2, Metal2, -79.78, 1.51, 1.795, 0.2, 1, 3, 0, 13.08)
R(c_2div_2, Metal2, [(-66.32,-1.69,-62.86,-1.49), (-67.87,0.335,-64.1,1.445), (-81.18,2.04,-80.88,2.62), (-66.43,4.85,-64.495,5.05), (-64.495,4.85,-63.4,5.05), (-66.45,11.39,-63.9,11.59), (-67.87,13.41,-66.26,14.52), (-66.41,13.41,-65.07,14.52), (-66.43,17.93,-64.495,18.13), (-66.35,24.47,-65.09,24.67), (-67.87,26.47,-66.26,27.58), (-81.18,28.2,-80.88,28.82), (-66.39,31.01,-65.74,31.21), (-67.87,35.56,-66.85,36.67)])
R(c_2div_2, Metal2_pin, [(-63.04,-1.66,-62.9,-1.52), (-63.61,4.87,-63.47,5.01), (-64.09,11.41,-63.95,11.55), (-64.69,17.95,-64.55,18.09), (-65.24,24.5,-65.1,24.64), (-65.89,31.04,-65.75,31.18), (-66.47,37.59,-66.33,37.73)])
A(c_2div_2, Metal3, -88.09, -6.49, 0.2, 1.6, 1, 3, 0, 13.08)
A(c_2div_2, Metal3, -76.19, -6.49, 0.2, 1.6, 1, 4, 0, 13.08)
A(c_2div_2, Metal3, -77.73, 1.1, 0.2, 3.94, 1, 3, 0, 13.08)
A(c_2div_2, Metal3, -77.68, 1.47, 0.155, 3.58, 1, 3, 0, 13.08)
R(c_2div_2, Metal3, [(-64.44,0.335,-64.3,2.23), (-64.3,0.335,-64.1,2.23), (-64.44,2.08,-64.1,12.05), (-64.44,2.23,-64.1,2.6), (-64.44,2.23,-64.1,2.6), (-65.35,13.41,-65.01,25.13), (-66.53,26.47,-66.19,38.21), (-66.53,36.3,-66.19,36.67), (-66.53,36.3,-66.19,36.67), (-66.53,36.53,-66.19,38.21)])
R(c_2div_2, Metal3_pin, [(-67,36.27,-66.89,36.4)])
c_2div_2.add(gdstk.Reference(ptap1_10, (-79.73,-1.98), rotation=pi, x_reflection=True))
c_2div_2.add(gdstk.Reference(ptap1_10, (-79.39,-1.98), rotation=pi, x_reflection=True))
c_2div_2.add(gdstk.Reference(ptap1_10, (-79.05,-1.98), rotation=pi, x_reflection=True))
c_2div_2.add(gdstk.Reference(ptap1_10, (-78.71,-1.98), rotation=pi, x_reflection=True))
c_2div_2.add(gdstk.Reference(ptap1_10, (-78.37,-1.98), rotation=pi, x_reflection=True))
c_2div_2.add(gdstk.Reference(d_flip_flop_3_2, (-67.75,10), rotation=pi, x_reflection=True))
c_2div_2.add(gdstk.Reference(d_flip_flop_3_2, (-79.65,10), rotation=pi, x_reflection=True))
c_2div_2.add(gdstk.Reference(ptap1_10, (-79.73,11.1), rotation=pi, x_reflection=True))
c_2div_2.add(gdstk.Reference(ptap1_10, (-79.73,24.18), rotation=pi, x_reflection=True))
c_2div_2.add(gdstk.Reference(ptap1_10, (-79.39,24.18), rotation=pi, x_reflection=True))
c_2div_2.add(gdstk.Reference(ptap1_10, (-79.05,24.18), rotation=pi, x_reflection=True))
c_2div_2.add(gdstk.Reference(ptap1_10, (-78.71,24.18), rotation=pi, x_reflection=True))
c_2div_2.add(gdstk.Reference(ptap1_10, (-78.37,24.18), rotation=pi, x_reflection=True))
c_2div_2.add(gdstk.Reference(d_flip_flop_3_2, (-67.75,-3.08), rotation=pi, x_reflection=True))
c_2div_2.add(gdstk.Reference(via_39_2, (-76.09,34.7), rotation=pi, x_reflection=True))
c_2div_2.add(gdstk.Reference(via_39_2, (-75.84,32.85), rotation=3*pi/2, x_reflection=True))
c_2div_2.add(gdstk.Reference(ptap1_10, (-79.39,11.1), rotation=pi, x_reflection=True))
c_2div_2.add(gdstk.Reference(ptap1_10, (-79.05,11.1), rotation=pi, x_reflection=True))
c_2div_2.add(gdstk.Reference(ptap1_10, (-78.71,11.1), rotation=pi, x_reflection=True))
c_2div_2.add(gdstk.Reference(ptap1_10, (-78.37,11.1), rotation=pi, x_reflection=True))
c_2div_2.add(gdstk.Reference(via_39_2, (-76.09,21.62), rotation=pi, x_reflection=True))
c_2div_2.add(gdstk.Reference(via_39_2, (-75.84,19.77), rotation=3*pi/2, x_reflection=True))
c_2div_2.add(gdstk.Reference(via_39_2, (-76.09,8.54), rotation=pi, x_reflection=True))
c_2div_2.add(gdstk.Reference(via_39_2, (-75.84,6.69), rotation=3*pi/2, x_reflection=True))
c_2div_2.add(gdstk.Reference(via_39_2, (-76.09,-4.54), rotation=pi, x_reflection=True))
c_2div_2.add(gdstk.Reference(via_39_2, (-75.84,-6.39), rotation=3*pi/2, x_reflection=True))
c_2div_2.add(gdstk.Reference(via_39_2, (-87.99,21.62), rotation=pi, x_reflection=True))
c_2div_2.add(gdstk.Reference(via_39_2, (-87.74,19.77), rotation=3*pi/2, x_reflection=True))
c_2div_2.add(gdstk.Reference(via_39_2, (-87.99,8.54), rotation=pi, x_reflection=True))
c_2div_2.add(gdstk.Reference(via_39_2, (-87.74,6.69), rotation=3*pi/2, x_reflection=True))
c_2div_2.add(gdstk.Reference(via_39_2, (-87.99,-4.54), rotation=pi, x_reflection=True))
c_2div_2.add(gdstk.Reference(via_39_2, (-87.74,-6.39), rotation=3*pi/2, x_reflection=True))
c_2div_2.add(gdstk.Reference(via_39_2, (-79.68,27.52), rotation=pi, x_reflection=True))
c_2div_2.add(gdstk.Reference(via_39_2, (-79.68,14.44), rotation=pi, x_reflection=True))
c_2div_2.add(gdstk.Reference(via_39_2, (-79.68,1.36), rotation=pi, x_reflection=True))
c_2div_2.add(gdstk.Reference(via_40_2, (-66.95,36.115)))
c_2div_2.add(gdstk.Reference(via_40_2, (-67.77,36.115)))
c_2div_2.add(gdstk.Reference(via_6, (-77.38,37.65)))
c_2div_2.add(gdstk.Reference(via_40_2, (-66.36,37.655)))
c_2div_2.add(gdstk.Reference(via_40_2, (-66.36,27.025)))
c_2div_2.add(gdstk.Reference(via_40_2, (-67.77,27.025)))
c_2div_2.add(gdstk.Reference(via_6, (-89.28,24.57)))
c_2div_2.add(gdstk.Reference(via_6, (-89.28,11.49)))
c_2div_2.add(gdstk.Reference(via_6, (-89.28,-1.59)))
c_2div_2.add(gdstk.Reference(via_6, (-77.38,31.11)))
c_2div_2.add(gdstk.Reference(via_6, (-77.38,18.03)))
c_2div_2.add(gdstk.Reference(d_flip_flop_3_2, (-79.65,-3.08), rotation=pi, x_reflection=True))
c_2div_2.add(gdstk.Reference(via_40_2, (-65.19,24.575)))
c_2div_2.add(gdstk.Reference(via_40_2, (-65.17,13.975)))
c_2div_2.add(gdstk.Reference(via_40_2, (-67.77,13.97)))
c_2div_2.add(gdstk.Reference(via_40_2, (-64.27,11.495)))
c_2div_2.add(gdstk.Reference(via_6, (-77.38,4.955)))
c_2div_2.add(gdstk.Reference(via_40_2, (-64.27,0.89)))
c_2div_2.add(gdstk.Reference(via_40_2, (-67.77,0.89)))
c_2div_2.add(gdstk.Reference(d_flip_flop_3_2, (-67.75,36.16), rotation=pi, x_reflection=True))
c_2div_2.add(gdstk.Reference(d_flip_flop_3_2, (-67.75,23.08), rotation=pi, x_reflection=True))
c_2div_2.add(gdstk.Reference(d_flip_flop_3_2, (-79.65,23.08), rotation=pi, x_reflection=True))
c_2div_2.add(gdstk.Reference(ntap1_39, (-80.44,-8.52)))
c_2div_2.add(gdstk.Reference(ntap1_39, (-80.44,4.56)))
c_2div_2.add(gdstk.Reference(ntap1_39, (-80.44,17.64)))
c_2div_2.add(gdstk.Reference(ntap1_39, (-80.44,30.72)))
c_2div_2.add(gdstk.Label('vp', (-72.84,44.13), layer=8, texttype=2))
c_2div_2.add(gdstk.Label('vp', (-72.84,31.07), layer=8, texttype=2))
c_2div_2.add(gdstk.Label('vp', (-72.84,18.03), layer=8, texttype=2))
c_2div_2.add(gdstk.Label('vp', (-72.84,4.89), layer=8, texttype=2))
c_2div_2.add(gdstk.Label('vp', (-72.84,-8.09), layer=8, texttype=2))
c_2div_2.add(gdstk.Label('gd', (-73.05,37.63), layer=8, texttype=2))
c_2div_2.add(gdstk.Label('gd', (-73.05,24.62), layer=8, texttype=2))
c_2div_2.add(gdstk.Label('gd', (-73.05,11.53), layer=8, texttype=2))
c_2div_2.add(gdstk.Label('gd', (-73.05,-1.64), layer=8, texttype=2))
c_2div_2.add(gdstk.Label('div128', (-62.979,-1.579), layer=10, texttype=2))
c_2div_2.add(gdstk.Label('div64', (-63.549,4.95), layer=10, texttype=2))
c_2div_2.add(gdstk.Label('div32', (-64.029,11.49), layer=10, texttype=2))
c_2div_2.add(gdstk.Label('div16', (-64.629,18.03), layer=10, texttype=2))
c_2div_2.add(gdstk.Label('div8', (-65.179,24.58), layer=10, texttype=2))
c_2div_2.add(gdstk.Label('div4', (-65.829,31.12), layer=10, texttype=2))
c_2div_2.add(gdstk.Label('div2', (-66.409,37.67), layer=10, texttype=2))
c_2div_2.add(gdstk.Label('in', (-66.953,36.32), layer=30, texttype=2))

lib.write_gds('2Div_2.gds')
